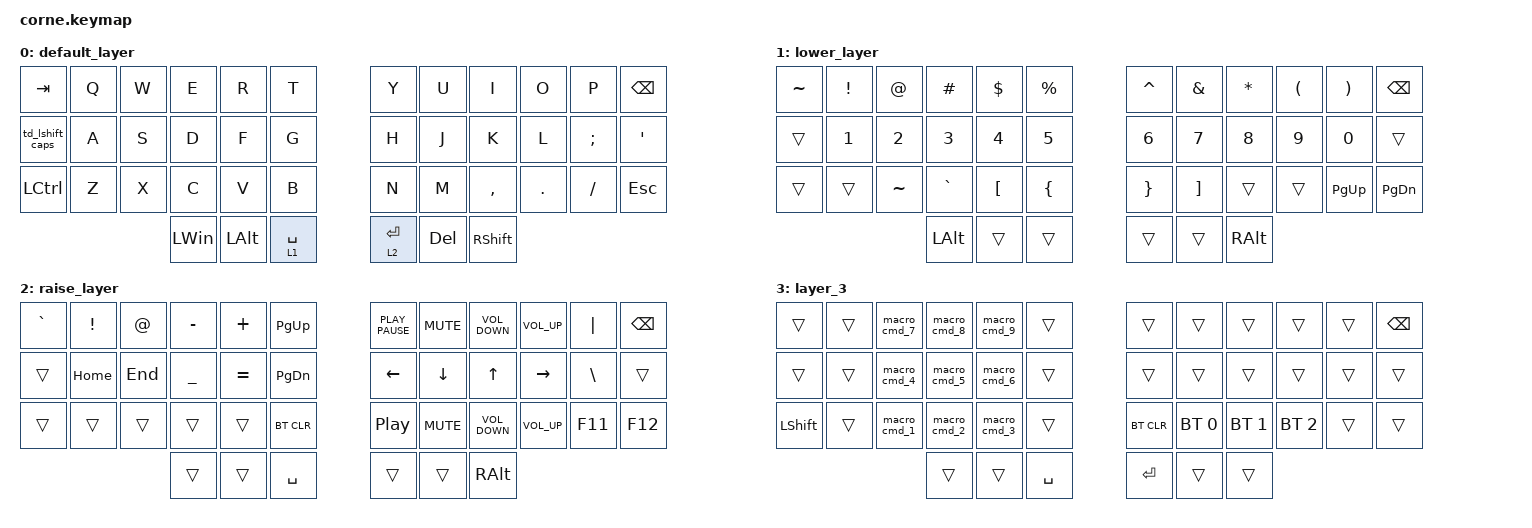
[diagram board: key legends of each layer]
/*
 * Copyright (c) 2020 The ZMK Contributors
 *
 * SPDX-License-Identifier: MIT
 */

#include <behaviors.dtsi>
#include <dt-bindings/zmk/bt.h>
#include <dt-bindings/zmk/keys.h>

/ {
    behaviors {
        td_lshift_caps: td_lshift_caps {
            compatible = "zmk,behavior-tap-dance";
            label = "TD_LSHIFT_CAPS";
            #binding-cells = <0>;
            tapping-term-ms = <350>;
            bindings = <&kp LSHFT>, <&kp CAPSLOCK>;
        };

        td_l1_l3: td_l1_l3 {
            compatible = "zmk,behavior-tap-dance";
            label = "TD_L1_L3";
            #binding-cells = <0>;
            bindings = <&mo 1>, <&mo 2>;

            tapping-term-ms = <280>;
        };

        td_lctrl_esc: td_lctrl_esc {
            compatible = "zmk,behavior-tap-dance";
            label = "TD_LCTRL_ESC";
            #binding-cells = <0>;
            tapping-term-ms = <280>;
            bindings = <&kp LCTRL>, <&kp ESC>;
        };
    };

    macros {
        macro_cmd_1: macro_cmd_1 {
            compatible = "zmk,behavior-macro";
            #binding-cells = <0>;
            bindings =
                <&macro_press>,
                <&kp LEFT_GUI>,
                <&macro_tap>,
                <&kp N1>,
                <&macro_release>,
                <&kp LGUI>;

            label = "MACRO_CMD_1";
        };

        macro_cmd_2: macro_cmd_2 {
            compatible = "zmk,behavior-macro";
            #binding-cells = <0>;
            bindings =
                <&macro_press>,
                <&kp LEFT_GUI>,
                <&macro_tap>,
                <&kp N2>,
                <&macro_release>,
                <&kp LGUI>;

            label = "MACRO_CMD_2";
        };

        macro_cmd_3: macro_cmd_3 {
            compatible = "zmk,behavior-macro";
            #binding-cells = <0>;
            bindings =
                <&macro_press>,
                <&kp LEFT_GUI>,
                <&macro_tap>,
                <&kp N3>,
                <&macro_release>,
                <&kp LGUI>;

            label = "MACRO_CMD_3";
        };

        macro_cmd_4: macro_cmd_4 {
            compatible = "zmk,behavior-macro";
            #binding-cells = <0>;
            bindings =
                <&macro_press>,
                <&kp LEFT_GUI>,
                <&macro_tap>,
                <&kp N4>,
                <&macro_release>,
                <&kp LGUI>;

            label = "MACRO_CMD_4";
        };

        macro_cmd_5: macro_cmd_5 {
            compatible = "zmk,behavior-macro";
            #binding-cells = <0>;
            bindings =
                <&macro_press>,
                <&kp LEFT_GUI>,
                <&macro_tap>,
                <&kp N5>,
                <&macro_release>,
                <&kp LGUI>;

            label = "MACRO_CMD_5";
        };

        macro_cmd_6: macro_cmd_6 {
            compatible = "zmk,behavior-macro";
            #binding-cells = <0>;
            bindings =
                <&macro_press>,
                <&kp LEFT_GUI>,
                <&macro_tap>,
                <&kp N6>,
                <&macro_release>,
                <&kp LGUI>;

            label = "MACRO_CMD_6";
        };

        macro_cmd_7: macro_cmd_7 {
            compatible = "zmk,behavior-macro";
            #binding-cells = <0>;
            bindings =
                <&macro_press>,
                <&kp LEFT_GUI>,
                <&macro_tap>,
                <&kp N7>,
                <&macro_release>,
                <&kp LGUI>;

            label = "MACRO_CMD_7";
        };

        macro_cmd_8: macro_cmd_8 {
            compatible = "zmk,behavior-macro";
            #binding-cells = <0>;
            bindings =
                <&macro_press>,
                <&kp LEFT_GUI>,
                <&macro_tap>,
                <&kp N8>,
                <&macro_release>,
                <&kp LGUI>;

            label = "MACRO_CMD_8";
        };

        macro_cmd_9: macro_cmd_9 {
            compatible = "zmk,behavior-macro";
            #binding-cells = <0>;
            bindings =
                <&macro_press>,
                <&kp LEFT_GUI>,
                <&macro_tap>,
                <&kp N9>,
                <&macro_release>,
                <&kp LGUI>;

            label = "MACRO_CMD_9";
        };

        macro_cmd_left: macro_cmd_left {
            compatible = "zmk,behavior-macro";
            #binding-cells = <0>;
            bindings =
                <&macro_press>,
                <&kp LEFT_GUI>,
                <&macro_tap>,
                <&kp LEFT>,
                <&macro_release>,
                <&kp LGUI>;

            label = "MACRO_CMD_LEFT";
        };

        macro_cmd_right: macro_cmd_right {
            compatible = "zmk,behavior-macro";
            #binding-cells = <0>;
            bindings =
                <&macro_press>,
                <&kp LEFT_GUI>,
                <&macro_tap>,
                <&kp RIGHT>,
                <&macro_release>,
                <&kp LGUI>;

            label = "MACRO_CMD_RIGHT";
        };

        macro_cmd_up: macro_cmd_up {
            compatible = "zmk,behavior-macro";
            #binding-cells = <0>;
            bindings =
                <&macro_press>,
                <&kp LEFT_GUI>,
                <&macro_tap>,
                <&kp UP>,
                <&macro_release>,
                <&kp LGUI>;

            label = "MACRO_CMD_UP";
        };

        macro_cmd_down: macro_cmd_down {
            compatible = "zmk,behavior-macro";
            #binding-cells = <0>;
            bindings =
                <&macro_press>,
                <&kp LEFT_GUI>,
                <&macro_tap>,
                <&kp DOWN>,
                <&macro_release>,
                <&kp LGUI>;

            label = "MACRO_CMD_DOWN";
        };

        macro_screen_shot: macro_screen_shot {
            compatible = "zmk,behavior-macro";
            #binding-cells = <0>;
            bindings = <&none>;
            label = "MACRO_SCREEN_SHOT";
        };

        macro_opt_left: macro_opt_left {
            compatible = "zmk,behavior-macro";
            #binding-cells = <0>;
            bindings =
                <&macro_press>,
                <&kp LEFT_ALT>,
                <&macro_tap>,
                <&kp LEFT>,
                <&macro_release>,
                <&kp LEFT_ALT>;

            label = "MACRO_OPT_LEFT";
        };

        macro_opt_right: macro_opt_right {
            compatible = "zmk,behavior-macro";
            #binding-cells = <0>;
            bindings =
                <&macro_press>,
                <&kp LEFT_ALT>,
                <&macro_tap>,
                <&kp RIGHT>,
                <&macro_release>,
                <&kp LEFT_ALT>;

            label = "MACRO_OPT_RIGHT";
        };

        macro_opt_up: macro_opt_up {
            compatible = "zmk,behavior-macro";
            #binding-cells = <0>;
            bindings =
                <&macro_press>,
                <&kp LEFT_ALT>,
                <&macro_tap>,
                <&kp UP>,
                <&macro_release>,
                <&kp LEFT_ALT>;

            label = "MACRO_OPT_UP";
        };

        macro_opt_down: macro_opt_down {
            compatible = "zmk,behavior-macro";
            #binding-cells = <0>;
            bindings =
                <&macro_press>,
                <&kp LEFT_ALT>,
                <&macro_tap>,
                <&kp DOWN>,
                <&macro_release>,
                <&kp LEFT_ALT>;

            label = "MACRO_OPT_DOWN";
        };
    };

    combos {
        compatible = "zmk,combos";

        qw_esc {
            bindings = <&kp ESCAPE>;
            key-positions = <2 1>;
            layers = <0>;
            timeout-ms = <160>;
        };
    };

    keymap {
        compatible = "zmk,keymap";

        default_layer {
            // -----------------------------------------------------------------------------------------
            // |  TAB |  Q  |  W  |  E  |  R  |  T  |   |  Y  |  U   |  I  |  O  |  P  | BKSP |
            // | CTRL |  A  |  S  |  D  |  F  |  G  |   |  H  |  J   |  K  |  L  |  ;  |  '   |
            // | SHFT |  Z  |  X  |  C  |  V  |  B  |   |  N  |  M   |  ,  |  .  |  /  | ESC  |
            //                    | GUI | LWR | SPC |   | ENT | RSE  | ALT |

            bindings = <
&kp TAB          &kp Q  &kp W  &kp E         &kp R         &kp T          &kp Y        &kp U    &kp I            &kp O    &kp P     &kp BACKSPACE
&td_lshift_caps  &kp A  &kp S  &kp D         &kp F         &kp G          &kp H        &kp J    &kp K            &kp L    &kp SEMI  &kp SQT
&kp LCTRL        &kp Z  &kp X  &kp C         &kp V         &kp B          &kp N        &kp M    &kp COMMA        &kp DOT  &kp FSLH  &kp ESCAPE
                               &kp LEFT_WIN  &kp LEFT_ALT  &lt 1 SPACE    &lt 2 ENTER  &kp DEL  &kp RIGHT_SHIFT
            >;
        };

        lower_layer {
            // -----------------------------------------------------------------------------------------
            // |  TAB |  1  |  2  |  3  |  4  |  5  |   |  6  |  7  |  8  |  9  |  0  | BKSP |
            // | BTCLR| BT1 | BT2 | BT3 | BT4 | BT5 |   | LFT | UP |  DWN | RGT |     |      |
            // | SHFT |     |     |     |     |     |   |     |     |     |     |     |      |
            //                    | GUI |     | SPC |   | ENT |     | ALT |

            bindings = <
&kp TILDE  &kp EXCLAMATION  &kp AT_SIGN   &kp POUND     &kp DOLLAR        &kp PERCENT       &kp CARET        &kp AMPERSAND      &kp ASTERISK  &kp LEFT_PARENTHESIS  &kp RIGHT_PARENTHESIS  &kp BSPC
&trans     &kp NUMBER_1     &kp NUMBER_2  &kp NUMBER_3  &kp NUMBER_4      &kp NUMBER_5      &kp NUMBER_6     &kp NUMBER_7       &kp NUMBER_8  &kp NUMBER_9          &kp NUMBER_0           &trans
&trans     &trans           &kp TILDE     &kp GRAVE     &kp LEFT_BRACKET  &kp LEFT_BRACE    &kp RIGHT_BRACE  &kp RIGHT_BRACKET  &trans        &trans                &kp PAGE_UP            &kp PAGE_DOWN
                                          &kp LEFT_ALT  &trans            &trans            &trans           &trans             &kp RALT
            >;
        };

        raise_layer {
            // -----------------------------------------------------------------------------------------
            // |  TAB |  !  |  @  |  #  |  $  |  %  |   |  ^  |  &  |  *  |  (  |  )  | BKSP |
            // | CTRL |     |     |     |     |     |   |  -  |  =  |  [  |  ]  |  \  |  `   |
            // | SHFT |     |     |     |     |     |   |  _  |  +  |  {  |  }  | "|" |  ~   |
            //                    | GUI |     | SPC |   | ENT |     | ALT |

            bindings = <
&kp GRAVE  &kp EXCL  &kp AT   &kp MINUS       &kp PLUS   &kp PAGE_UP      &kp K_PLAY_PAUSE  &kp K_MUTE      &kp C_VOLUME_DOWN  &kp C_VOLUME_UP  &kp PIPE  &kp BSPC
&trans     &kp HOME  &kp END  &kp UNDERSCORE  &kp EQUAL  &kp PAGE_DOWN    &kp LEFT_ARROW    &kp DOWN_ARROW  &kp UP_ARROW       &kp RIGHT_ARROW  &kp BSLH  &trans
&trans     &trans    &trans   &trans          &trans     &bt BT_CLR       &kp C_PLAY_PAUSE  &kp C_MUTE      &kp C_VOLUME_DOWN  &kp C_VOLUME_UP  &kp F11   &kp F12
                              &trans          &trans     &kp SPACE        &trans            &trans          &kp RALT
            >;
        };

        layer_3 {
            bindings = <
&trans     &trans  &macro_cmd_7  &macro_cmd_8  &macro_cmd_9  &trans       &trans      &trans        &trans        &trans        &trans  &kp BACKSPACE
&trans     &trans  &macro_cmd_4  &macro_cmd_5  &macro_cmd_6  &trans       &trans      &trans        &trans        &trans        &trans  &trans
&kp LSHFT  &trans  &macro_cmd_1  &macro_cmd_2  &macro_cmd_3  &trans       &bt BT_CLR  &bt BT_SEL 0  &bt BT_SEL 1  &bt BT_SEL 2  &trans  &trans
                                 &trans        &trans        &kp SPACE    &kp ENTER   &trans        &trans
            >;
        };
    };

    conditional_layers {
        compatible = "zmk,conditional-layers";

        l3 {
            if-layers = <1 2>;
            then-layer = <3>;
        };
    };
};
